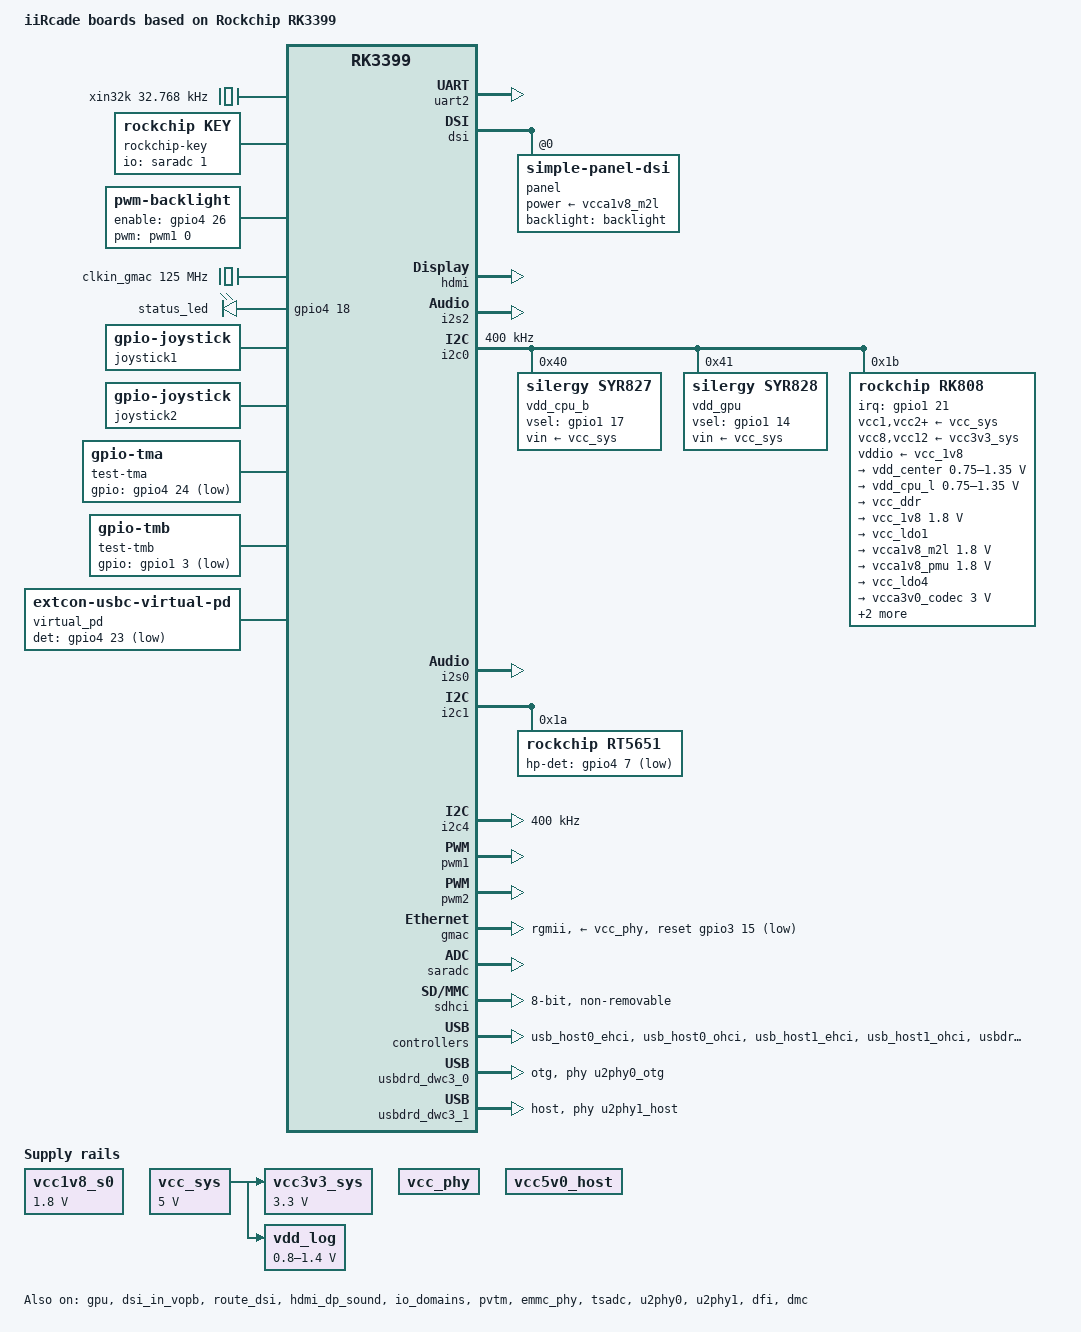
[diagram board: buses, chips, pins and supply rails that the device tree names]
/dts-v1/;

#include <dt-bindings/pwm/pwm.h>
#include <dt-bindings/input/input.h>
#include <dt-bindings/suspend/rockchip-rk3399.h>

#include "rk3399.dtsi"
#include "rk3399-android.dtsi"
#include "rk3399-opp.dtsi"

/ {
	model = "iiRcade boards based on Rockchip RK3399";
	compatible = "iiRcade,iiRcade", "rockchip,rk3399-iircade", "rockchip,android", "rockchip,rk3399";
	chosen {
		bootargs = "earlycon=uart8250,mmio32,0xff1a0000 swiotlb=1 console=ttyFIQ0 androidboot.baseband=N/A androidboot.veritymode=enforcing androidboot.hardware=rk30board androidboot.console=ttyFIQ0 rootfstype=ext4 rootwait init=/init initrd=0x62000001,0x00800000";
	};

	mach: board {
		compatible = "iiRcade,board";
		machine = "IIRCADE";
		hwrev = <0>;
		model = "iiRcade Series";
	};

	/* first 64k(0xff8c0000~0xff8d0000) for ddr and suspend */
	iram: sram@ff8d0000 {
		compatible = "mmio-sram";
		reg = <0x0 0xff8d0000 0x0 0x20000>; /* 128k */
	};

	vcc1v8_s0: vcc1v8-s0 {
		compatible = "regulator-fixed";
		regulator-name = "vcc1v8_s0";
		regulator-min-microvolt = <1800000>;
		regulator-max-microvolt = <1800000>;
		regulator-always-on;
	};

	vcc_sys: vcc-sys {
		compatible = "regulator-fixed";
		regulator-name = "vcc_sys";
		regulator-min-microvolt = <5000000>;
		regulator-max-microvolt = <5000000>;
		regulator-always-on;
	};

	vcc_phy: vcc-phy-regulator {
		compatible = "regulator-fixed";
		regulator-name = "vcc_phy";
		regulator-always-on;
		regulator-boot-on;
	};

	vcc3v3_sys: vcc3v3-sys {
		compatible = "regulator-fixed";
		regulator-name = "vcc3v3_sys";
		regulator-min-microvolt = <3300000>;
		regulator-max-microvolt = <3300000>;
		regulator-always-on;
		vin-supply = <&vcc_sys>;
	};

	vcc5v0_host: vcc5v0-host-regulator {
		compatible = "regulator-fixed";
		enable-active-high;
		regulator-name = "vcc5v0_host";
		regulator-always-on;
	};

	vdd_log: vdd-log {
		compatible = "pwm-regulator";
		pwms = <&pwm2 0 25000 1>;
		regulator-name = "vdd_log";
		regulator-min-microvolt = <800000>;
		regulator-max-microvolt = <1400000>;
		regulator-always-on;
		regulator-boot-on;

		/* for rockchip boot on */
		rockchip,pwm_id= <2>;
		rockchip,pwm_voltage = <900000>;

		vin-supply = <&vcc_sys>;
	};

	xin32k: xin32k {
		compatible = "fixed-clock";
		clock-frequency = <32768>;
		clock-output-names = "xin32k";
		#clock-cells = <0>;
	};

	/delete-node/ rockchip-key;
	rockchip-key {
		compatible = "rockchip,key";
		status = "okay";

		pinctrl-names = "default";
		pinctrl-0 = <&rk_keys>;

		io-channels = <&saradc 1>;

		power-key {
			gpios = <&gpio0 5 GPIO_ACTIVE_LOW>;
			linux,code = <116>;
			label = "power";
			gpio-key,wakeup;
		};

		volume-up {
			gpios = <&gpio4 10 GPIO_ACTIVE_LOW>;
			linux,code = <115>;
			label = "VOL+";
		};

		volume-down {
			gpios = <&gpio4 11 GPIO_ACTIVE_LOW>;
			linux,code = <114>;
			label = "VOL-";
		};
	};

	backlight: backlight {
		compatible = "pwm-backlight";
		pwms = <&pwm1 0 25000 PWM_POLARITY_INVERTED>;
		brightness-levels = <
/*
			255 255 254 254 253 253 252 252
			251 251 250 250 249 249 248 248
			247 247 247 246 246 245 245 244
			244 243 243 242 242 241 241 240
			240 239 239 239 238 238 237 237
			236 236 235 235 234 234 233 233
			232 232 231 231 231 230 230 229
			229 228 228 227 227 226 226 225
			225 224 224 223 223 223 222 222
			221 221 220 220 219 219 218 218
			217 217 216 216 215 215 215 214
			214 213 213 212 212 211 211 210
			210 209 209 208 208 207 207 207
			206 206 205 205 204 204 203 203
			202 202 201 201 200 200 199 199
			199 198 198 197 197 196 196 195
			195 194 194 193 193 192 192 191
			191 191 190 190 189 189 188 188
			187 187 186 186 185 185 184 184
			183 183 183 182 182 181 181 180
			180 179 179 178 178 177 177 176
			176 175 175 175 174 174 173 173
			172 172 171 171 170 170 169 169
			168 168 167 167 167 166 166 165
			165 164 164 163 163 162 162 161
			161 160 160 159 159 159 158 158
			157 157 156 156 155 155 154 154
			153 153 152 152 151 151 151 150
			150 149 149 148 148 147 147 146
			146 145 145 144 144 143 143 143
			142 142 141 141 140 140 139 139
			138 138 137 137 136 136 135 135>;
*/
			255 254 253 252 251 250 249 248
			247 246 245 244 243 242 241 240
			239 238 237 236 235 234 233 232
			231 230 229 228 227 226 225 224
			223 222 221 220 219 218 217 216
			215 214 213 212 211 210 209 208
			207 206 205 204 203 202 201 200
			199 198 197 196 195 194 193 192
			191 190 189 188 187 186 185 184
			183 182 181 180 179 178 177 176
			175 174 173 172 171 170 169 168
			167 166 165 164 163 162 161 160
			159 158 157 156 155 154 153 152
			151 150 149 148 147 146 145 144
			143 142 141 140 139 138 137 136
			135 134 133 132 131 130 129 128
			127 126 125 124 123 122 121 120
			119 118 117 116 115 114 113 112
			111 110 109 108 107 106 105 104
			103 102 101 100 99 98 97 96
			95 94 93 92 91 90 89 88
			87 86 85 84 83 82 81 80
			79 78 77 76 75 74 73 72
			71 70 69 68 67 66 65 64
			63 62 61 60 59 58 57 56
			55 54 53 52 51 50 49 48
			47 46 45 44 43 42 41 40
			39 38 37 36 35 34 33 32
			31 30 29 28 27 26 25 24
			23 22 21 20 19 18 17 16
			15 14 13 12 11 10 9  8
			7 6 5 4 3 2 1 0>;
		default-brightness-level = <200>;
		enable-gpios = <&gpio4 26 GPIO_ACTIVE_HIGH>;
	};


        clkin_gmac: external-gmac-clock {
                compatible = "fixed-clock";
                clock-frequency = <125000000>;
                clock-output-names = "clkin_gmac";
                #clock-cells = <0>;
        };

        vcc_phy: vcc-phy-regulator {
                compatible = "regulator-fixed";
                regulator-name = "vcc_phy";
                regulator-always-on;
                regulator-boot-on;
        };

	leds: gpio-leds {
		compatible = "gpio-leds";
		pinctrl-names = "default";
		pinctrl-0 =<&leds_gpio>;

		led@1 {
			gpios = <&gpio4 18 GPIO_ACTIVE_HIGH>;
			label = "status_led";
			linux,default-trigger-delay-ms = <0>;
		};
	};
/*
	rt5651-sound {
		status = "okay";
		compatible = "simple-audio-card";
		simple-audio-card,format = "i2s";
		simple-audio-card,name = "realtek,rt5651-codec";
		simple-audio-card,mclk-fs = <256>;
		simple-audio-card,widgets =
			"Headphone", "Headphone Jack";
		simple-audio-card,routing =
			"Headphone Jack", "HPOL",
			"Headphone Jack", "HPOR";
		simple-audio-card,cpu {
			sound-dai = <&i2s0>;
		};
		simple-audio-card,codec {
			sound-dai = <&rt5651>;
		};
	};

*/


/*        sound {
                status = "okay";
                compatible = "simple-audio-card";
                simple-audio-card,format = "i2s";
               	simple-audio-card,mclk-fs = <256>;
		simple-audio-card,name = "ti,pcm1808-codec";
                simple-audio-card,widgets =
                        "Line", "Line";
                simple-audio-card,routing =
                        "Line", "Capture";
                simple-audio-card,cpu {
               		sound-dai = <&i2s0>;
                };
                simple-audio-card,codec {
                        sound-dai = <&pcm1808>;
			clocks = <&cru SCLK_I2S_8CH_OUT>;
			clock-names = "mclk";
			pinctrl-names = "default";
			pinctrl-0 = <&i2s_8ch_mclk>;
                };
        };

	pcm1808: pcm1808 {
		#sound-dai-cells = <0>;
		compatible = "ti,pcm1808";

	};*/

        sound {
                status = "okay";
                compatible = "simple-audio-card";
                simple-audio-card,format = "i2s";
               	simple-audio-card,mclk-fs = <256>;
		simple-audio-card,name = "ti,pcm512x-codec";
                simple-audio-card,widgets =
                        "Line", "Line In Modem",
			"Line", "Line Out Modem";
                simple-audio-card,routing =
                         "Line In Modem", "LOUTL",
                         "Line Out Modem", "LOUTR";
                simple-audio-card,cpu {
                        sound-dai = <&i2s0>;
                };
                simple-audio-card,codec {
                        sound-dai = <&pcm512x>;
			clocks = <&cru SCLK_I2S_8CH_OUT>;
                	clock-names = "mclk";
                	pinctrl-names = "default";
                	pinctrl-0 = <&i2s_8ch_mclk>;
                };
        };

	pcm512x: pcm512x {
		#sound-dai-cells = <0>;
		compatible = "ti,pcm512x";

	};
	joystick1 {
		compatible = "gpio-joystick";

		pinctrl-names = "default";
		pinctrl-0 = <&player1_keys>;

		/* DPAD */
		button-left {
			linux,code = <ABS_HAT0X>;
			linux,input-type = <EV_ABS>;
			linux,input-value = <(-1)>;
			label = "P1 Left";
			gpios = <&gpio2 1 GPIO_ACTIVE_LOW>;
		};

		button-right {
			linux,code = <ABS_HAT0X>;
			linux,input-type = <EV_ABS>;
			linux,input-value = <1>;
			label = "P1 Right";
			gpios = <&gpio2 2 GPIO_ACTIVE_LOW>;
		};

		button-up {
			linux,code = <ABS_HAT0Y>;
			linux,input-type = <EV_ABS>;
			linux,input-value = <(-1)>;
			label = "P1 Up";
			gpios = <&gpio2 3 GPIO_ACTIVE_LOW>;
		};

		button-down {
			linux,code = <ABS_HAT0Y>;
			linux,input-type = <EV_ABS>;
			linux,input-value = <1>;
			label = "P1 Down";
			gpios = <&gpio2 4 GPIO_ACTIVE_LOW>;
		};

		/* Button */
		button-start {
			linux,code = <BTN_START>;
			label = "P1 Button Start";
			gpios = <&gpio2 0 GPIO_ACTIVE_LOW>;
		};

		button-a {
			linux,code = <BTN_NORTH>;
			label = "P1 Button A";
			gpios = <&gpio2 10 GPIO_ACTIVE_LOW>;
		};

		button-b {
			linux,code = <BTN_WEST>;
			label = "P1 Button B";
			gpios = <&gpio2 9 GPIO_ACTIVE_LOW>;
		};

		button-c {
			linux,code = <BTN_C>;
			label = "P1 Button C";
			gpios = <&gpio2 8 GPIO_ACTIVE_LOW>;
		};

		button-d {
			linux,code = <BTN_GAMEPAD>;
			label = "P1 Button D";
			gpios = <&gpio2 7 GPIO_ACTIVE_LOW>;
		};

		button-e {
			linux,code = <BTN_EAST>;
			label = "P1 Button E";
			gpios = <&gpio2 6 GPIO_ACTIVE_LOW>;
		};

		button-f {
			linux,code = <BTN_Z>;
			label = "P1 Button F";
			gpios = <&gpio2 5 GPIO_ACTIVE_LOW>;
		};

		button-insert {
			linux,code = <BTN_SELECT>;
			label = "P1 Button Insert";
			gpios = <&gpio4 9 GPIO_ACTIVE_LOW>;

		};

		button-menu {
			linux,code = <KEY_HOMEPAGE>;
			label = "P1 Button Menu";
			gpios = <&gpio4 12 GPIO_ACTIVE_LOW>;
		};

	};

	joystick2 {
		compatible = "gpio-joystick";

		pinctrl-names = "default";
		pinctrl-0 = <&player2_keys>;

		/* DPAD */
		button-left {
			linux,code = <ABS_HAT0X>;
			linux,input-type = <EV_ABS>;
			linux,input-value = <(-1)>;
			label = "P2 Left";
			gpios = <&gpio2 17 GPIO_ACTIVE_LOW>;
		};

		button-right {
			linux,code = <ABS_HAT0X>;
			linux,input-type = <EV_ABS>;
			linux,input-value = <1>;
			label = "P2 Right";
			gpios = <&gpio2 18 GPIO_ACTIVE_LOW>;
		};

		button-up {
			linux,code = <ABS_HAT0Y>;
			linux,input-type = <EV_ABS>;
			linux,input-value = <(-1)>;
			label = "P2 Up";
			gpios = <&gpio2 19 GPIO_ACTIVE_LOW>;
		};

		button-down {
			linux,code = <ABS_HAT0Y>;
			linux,input-type = <EV_ABS>;
			linux,input-value = <1>;
			label = "P2 Down";
			gpios = <&gpio2 20 GPIO_ACTIVE_LOW>;
		};

		/* Button */
		button-start {
			linux,code = <BTN_START>;
			label = "P2 Button Start";
			gpios = <&gpio2 16 GPIO_ACTIVE_LOW>;
		};

		button-a {
			linux,code = <BTN_NORTH>;
			label = "P2 Button A";
			gpios = <&gpio2 26 GPIO_ACTIVE_LOW>;
		};

		button-b {
			linux,code = <BTN_WEST>;
			label = "P2 Button B";
			gpios = <&gpio2 25 GPIO_ACTIVE_LOW>;
		};

		button-c {
			linux,code = <BTN_C>;
			label = "P2 Button C";
			gpios = <&gpio2 24 GPIO_ACTIVE_LOW>;
		};

		button-d {
			linux,code = <BTN_GAMEPAD>;
			label = "P2 Button D";
			gpios = <&gpio2 23 GPIO_ACTIVE_LOW>;
		};

		button-e {
			linux,code = <BTN_EAST>;
			label = "P2 Button E";
			gpios = <&gpio2 22 GPIO_ACTIVE_LOW>;
		};

		button-f {
			linux,code = <BTN_Z>;
			label = "P2 Button F";
			gpios = <&gpio2 21 GPIO_ACTIVE_LOW>;
		};

	};


	test-power {
		status = "okay";
	};

	TMA {
		compatible = "gpio-tma";
                pinctrl-names = "default";
                pinctrl-0 = <&tma_det>;
		status = "okay";
		label = "test-tma";
		gpios = <&gpio4 24 GPIO_ACTIVE_LOW>;
	};

        TMB {
                compatible = "gpio-tmb";
                pinctrl-names = "default";
                pinctrl-0 = <&tmb_det>;
                status = "okay";
                label = "test-tmb";
                gpios = <&gpio1 3 GPIO_ACTIVE_LOW>;
        };

	Version {
		compatible = "gpio-hdver";
		pinctrl-names = "default";
		pinctrl-0 = <&ver_det>;
		status = "okay";

                version-a {
                        label = "gpio1-a0";
                        gpios = <&gpio1 1 GPIO_ACTIVE_LOW>;
                };

                version-b {
                        label = "gpio1-a1";
                        gpios = <&gpio1 2 GPIO_ACTIVE_LOW>;
                };

                version-c {
                        label = "gpio1-b5";
                        gpios = <&gpio1 13 GPIO_ACTIVE_LOW>;
                };

                version-d {
                        label = "gpio1-c2";
                        gpios = <&gpio1 18 GPIO_ACTIVE_LOW>;
                };

                version-e {
                        label = "gpio1-c4";
                        gpios = <&gpio1 20 GPIO_ACTIVE_LOW>;
                };
	};

	hdmi_sound: hdmi-sound {
		status = "okay";
		compatible = "simple-audio-card";
		simple-audio-card,format = "i2s";
		simple-audio-card,mclk-fs = <256>;
		simple-audio-card,name = "rockchip,hdmi";
		simple-audio-card,cpu {
			sound-dai = <&i2s2>;
		};
		simple-audio-card,codec {
			sound-dai = <&hdmi>;
		};
	};

	/* DP hot plug detect */
	virtual_pd: virtual-pd {
        	compatible = "linux,extcon-usbc-virtual-pd";
       		det-gpios = <&gpio4 23 GPIO_ACTIVE_LOW>;	/* DP_HPD */
		vpd-data-role = "display-port";
		vpd-super-speed;
	};

};

&cpu_l0 {
	cpu-supply = <&vdd_cpu_l>;
};

&cpu_l1 {
	cpu-supply = <&vdd_cpu_l>;
};

&cpu_l2 {
	cpu-supply = <&vdd_cpu_l>;
};

&cpu_l3 {
	cpu-supply = <&vdd_cpu_l>;
};

&cpu_b0 {
	cpu-supply = <&vdd_cpu_b>;
};

&cpu_b1 {
	cpu-supply = <&vdd_cpu_b>;
};

&gpu {
	status = "okay";
	mali-supply = <&vdd_gpu>;
};

&threshold {
	temperature = <85000>;
};

&target {
	temperature = <100000>;
};

&soc_crit {
	temperature = <115000>;
};

&uart2 {
	status = "okay";
};

&vopb {
	assigned-clocks = <&cru DCLK_VOP0_DIV>;
	assigned-clock-parents = <&cru PLL_VPLL>;
};

&vopl {
	assigned-clocks = <&cru DCLK_VOP1_DIV>;
	assigned-clock-parents = <&cru PLL_CPLL>;
};

&dsi {
	status = "okay";

	panel@0 {
		status = "okay";
		compatible = "simple-panel-dsi";
		reg = <0>;
		backlight = <&backlight>;
		power-supply = <&vcca1v8_m2l>;

		reset-delay-ms = <30>;
		enable-delay-ms = <30>;
		prepare-delay-ms = <30>;
		unprepare-delay-ms = <60>;
		disable-delay-ms = <60>;

		dsi,flags = <(MIPI_DSI_MODE_VIDEO | MIPI_DSI_MODE_VIDEO_BURST |
			      MIPI_DSI_MODE_LPM | MIPI_DSI_MODE_EOT_PACKET)>;
		dsi,format = <MIPI_DSI_FMT_RGB888>;
		dsi,lanes  = <4>;

		display-timings {
			native-mode = <&timing0>;
			timing0: timing0 {
				clock-frequency = <108000000>;
				hactive = <1280>;
				hfront-porch = <48>;
				hback-porch = <248>;
				hsync-len = <112>;
				vactive = <1024>;
				vfront-porch = <1>;
				vback-porch = <38>;
				vsync-len = <3>;
				hsync-active = <1>;
				vsync-active = <1>;
				de-active = <1>;
				pixelclk-active = <1>;
			};
		};
	};
};

&dsi_in_vopb {
	status = "okay";
};

&dsi_in_vopl {
	status = "disabled";
};

&route_dsi {
	status = "okay";
	connect = <&vopb_out_dsi>;
};

&hdmi {
	status = "okay";
};

&hdmi_in_vopb {
	status = "disabled";
};

&vopb {
	assigned-clocks = <&cru DCLK_VOP0_DIV>;
	assigned-clock-parents = <&cru PLL_CPLL>;
};

&vopl {
	assigned-clocks = <&cru DCLK_VOP1_DIV>;
	assigned-clock-parents = <&cru PLL_VPLL>;
};

&hdmi_dp_sound {
	status = "okay";
};

&i2s2 {
	status = "okay";
};

&i2c0 {
	status = "okay";
	i2c-scl-rising-time-ns = <168>;
	i2c-scl-falling-time-ns = <4>;
	clock-frequency = <400000>;

	vdd_cpu_b: syr827@40 {
		compatible = "silergy,syr827";
		reg = <0x40>;
		regulator-compatible = "fan53555-reg";
		pinctrl-0 = <&vsel1_gpio>;
		vsel-gpios = <&gpio1 17 GPIO_ACTIVE_HIGH>;
		regulator-name = "vdd_cpu_b";
		regulator-min-microvolt = <712500>;
		regulator-max-microvolt = <1500000>;
		regulator-ramp-delay = <1000>;
		fcs,suspend-voltage-selector = <1>;
		regulator-always-on;
		regulator-boot-on;
		vin-supply = <&vcc_sys>;
		regulator-state-mem {
			regulator-off-in-suspend;
		};
	};

	vdd_gpu: syr828@41 {
		compatible = "silergy,syr828";
		reg = <0x41>;
		regulator-compatible = "fan53555-reg";
		pinctrl-0 = <&vsel2_gpio>;
		vsel-gpios = <&gpio1 14 GPIO_ACTIVE_HIGH>;
		regulator-name = "vdd_gpu";
		regulator-min-microvolt = <712500>;
		regulator-max-microvolt = <1500000>;
		regulator-ramp-delay = <1000>;
		fcs,suspend-voltage-selector = <1>;
		regulator-always-on;
		regulator-boot-on;
		vin-supply = <&vcc_sys>;
		regulator-initial-mode = <1>; /* 1:force PWM 2:auto */
		regulator-state-mem {
			regulator-off-in-suspend;
		};
	};

	rk808: pmic@1b {
		compatible = "rockchip,rk808";
		reg = <0x1b>;
		interrupt-parent = <&gpio1>;
		interrupts = <21 IRQ_TYPE_LEVEL_LOW>;
		pinctrl-names = "default";
		pinctrl-0 = <&pmic_int_l>;
		rockchip,system-power-controller;
		wakeup-source;
		#clock-cells = <1>;
		clock-output-names = "rk808-clkout1", "rk808-clkout2";

		vcc1-supply = <&vcc_sys>;
		vcc2-supply = <&vcc_sys>;
		vcc3-supply = <&vcc_sys>;
		vcc4-supply = <&vcc_sys>;
		vcc6-supply = <&vcc_sys>;
		vcc7-supply = <&vcc_sys>;
		vcc8-supply = <&vcc3v3_sys>;
		vcc9-supply = <&vcc_sys>;
		vcc10-supply = <&vcc_sys>;
		vcc11-supply = <&vcc_sys>;
		vcc12-supply = <&vcc3v3_sys>;
		vddio-supply = <&vcc_1v8>;

		regulators {
			vdd_center: DCDC_REG1 {
				regulator-name = "vdd_center";
				regulator-min-microvolt = <750000>;
				regulator-max-microvolt = <1350000>;
				regulator-ramp-delay = <6001>;
				regulator-always-on;
				regulator-boot-on;
				regulator-state-mem {
					regulator-off-in-suspend;
				};
			};

			vdd_cpu_l: DCDC_REG2 {
				regulator-name = "vdd_cpu_l";
				regulator-min-microvolt = <750000>;
				regulator-max-microvolt = <1350000>;
				regulator-ramp-delay = <6001>;
				regulator-always-on;
				regulator-boot-on;
				regulator-state-mem {
					regulator-off-in-suspend;
				};
			};

			vcc_ddr: DCDC_REG3 {
				regulator-name = "vcc_ddr";
				regulator-always-on;
				regulator-boot-on;
				regulator-state-mem {
					regulator-on-in-suspend;
				};
			};

			vcc_1v8: DCDC_REG4 {
				regulator-name = "vcc_1v8";
				regulator-min-microvolt = <1800000>;
				regulator-max-microvolt = <1800000>;
				regulator-always-on;
				regulator-boot-on;
				regulator-state-mem {
					regulator-on-in-suspend;
					regulator-suspend-microvolt = <1800000>;
				};
			};

			// 1.8-3.4V/150mA
			LDO_REG1 {
				regulator-always-on;
				regulator-boot-on;
				regulator-name = "vcc_ldo1";
				regulator-state-mem {
					regulator-off-in-suspend;
				};
			};

			// 1.8-3.4V/150mA
			vcca1v8_m2l: LDO_REG2 { // VCCA1V8_M2L
				regulator-always-on;
				regulator-boot-on;
				regulator-min-microvolt = <1800000>;
				regulator-max-microvolt = <1800000>;
				regulator-name = "vcca1v8_m2l";
				regulator-state-mem {
					regulator-on-in-suspend;
					regulator-suspend-microvolt = <1800000>;
				};
			};

			// 0.8-2.5V/100mA
			vcca1v8_pmu: LDO_REG3 { // VCCA_1V8
				regulator-always-on;
				regulator-boot-on;
				regulator-min-microvolt = <1800000>;
				regulator-max-microvolt = <1800000>;
				regulator-name = "vcca1v8_pmu";
				regulator-state-mem {
					regulator-on-in-suspend;
					regulator-suspend-microvolt = <1800000>;
				};
			};

			// 1.8-3.4V/150mA
			LDO_REG4 {
				regulator-always-on;
				regulator-boot-on;
				regulator-name = "vcc_ldo4";
				regulator-state-mem {
					regulator-off-in-suspend;
				};
			};

			// 1.8-3.4V/300mA
			vcca3v0_codec: LDO_REG5 { // VCCA3V0_CODEC
				regulator-always-on;
				regulator-boot-on;
				regulator-min-microvolt = <3000000>;
				regulator-max-microvolt = <3000000>;
				regulator-name = "vcc_3v0";
				regulator-state-mem {
					regulator-on-in-suspend;
					regulator-suspend-microvolt = <3000000>;
				};
			};

			// 0.8-2.5V/150mA
			vcc_1v5: LDO_REG6 { // VCC_1V5 - RK3399
				regulator-always-on;
				regulator-boot-on;
				regulator-min-microvolt = <1500000>;
				regulator-max-microvolt = <1500000>;
				regulator-name = "vcc_1v5";
				regulator-state-mem {
					regulator-on-in-suspend;
					regulator-suspend-microvolt = <1500000>;
				};
			};

			// 0.8-2.5V/300mA
			vcca1v8_codec: LDO_REG7 { // VCCA1V8_CODEC
				regulator-always-on;
				regulator-boot-on;
				regulator-min-microvolt = <1800000>;
				regulator-max-microvolt = <1800000>;
				regulator-name = "vcca1v8_codec";
				regulator-state-mem {
					regulator-on-in-suspend;
					regulator-suspend-microvolt = <1800000>;
				};
			};

			// 1.8-3.4V/300mA
			vcc_3v0: LDO_REG8 { // VCC_3V0 - WiFi_PWR/LCDBL_IO/SPK_IO/UART2/LED/CTL/FAN_IO
				regulator-always-on;
				regulator-boot-on;
				regulator-min-microvolt = <3000000>;
				regulator-max-microvolt = <3000000>;
				regulator-name = "vcc_3v0";
				regulator-state-mem {
					regulator-on-in-suspend;
					regulator-suspend-microvolt = <3000000>;
				};
			};

			vcc3v3_s3: SWITCH_REG1 {
				regulator-always-on;
				regulator-boot-on;
				regulator-name = "vcc3v3_s3";
				regulator-state-mem {
					regulator-off-in-suspend;
				};
			};

			vcc3v3_s0: SWITCH_REG2 {
				regulator-always-on;
				regulator-boot-on;
				regulator-name = "vcc3v3_s0";
				regulator-state-mem {
					regulator-off-in-suspend;
				};
			};
		};
	};
};

&i2s0 {
	status = "okay";
	rockchip,i2s-broken-burst-len;
	rockchip,playback-channels = <2>;
	rockchip,capture-channels = <2>;
	#sound-dai-cells = <0>;


	assigned-clocks = <&cru SCLK_I2S0_DIV>;
	assigned-clock-parents = <&cru PLL_GPLL>;
};


// Codec - ALC5651
&i2c1 {
	status = "okay";
	i2c-scl-rising-time-ns = <300>;
	i2c-scl-falling-time-ns = <15>;

	rt5651: rt5651@1a {
		status = "okay";
		#sound-dai-cells = <0>;
		compatible = "rockchip,rt5651";
		reg = <0x1a>;
		clocks = <&cru SCLK_I2S_8CH_OUT>;
		clock-names = "mclk";
		pinctrl-names = "default";
		pinctrl-0 = <&i2s_8ch_mclk>;
		hp-det-gpio = <&gpio4 7 GPIO_ACTIVE_LOW>;
	};
};

/*
// pcm512x codec
&i2c1 {
        status = "okay";
        i2c-scl-rising-time-ns = <300>;
        i2c-scl-falling-time-ns = <15>;

        pcm5122: pcm5122@98 {
                status = "okay";
                compatible = "ti,pcm5122";
                reg = <0x98>;
        };
};
*/
// M2L
&i2c4 {
	status = "okay";
	i2c-scl-rising-time-ns = <160>;
	i2c-scl-falling-time-ns = <30>;
	clock-frequency = <400000>;
};

&io_domains {
	status = "okay";

	audio-supply = <&vcca1v8_codec>;	/* audio_gpio3d4a_ms */
};

&pvtm {
	status = "okay";
};

&pmu_pvtm {
	status = "okay";
};

&pmu_io_domains {
	status = "okay";
};

&pwm1 {
	status = "okay";
};

&pwm2 {
	status = "okay";
	pinctrl-names = "active";
	pinctrl-0 = <&pwm2_pin_pull_down>;
};

&gmac {
        phy-supply = <&vcc_phy>;
        phy-mode = "rgmii";
        clock_in_out = "input";
        snps,reset-gpio = <&gpio3 15 GPIO_ACTIVE_LOW>;
        snps,reset-active-low;
        snps,reset-delays-us = <0 10000 50000>;
        assigned-clocks = <&cru SCLK_RMII_SRC>;
        assigned-clock-parents = <&clkin_gmac>;
        pinctrl-names = "default";
        pinctrl-0 = <&rgmii_pins>;
        tx_delay = <0x28>;
        rx_delay = <0x11>;
        status = "okay";
};

&rockchip_suspend {
	compatible = "rockchip,pm-rk3399";
	status = "okay";
	rockchip,sleep-debug-en = <1>;
	rockchip,sleep-mode-config = <
		(0
		| RKPM_SLP_ARMPD
		| RKPM_SLP_PERILPPD
		| RKPM_SLP_DDR_RET
		| RKPM_SLP_PLLPD
		| RKPM_SLP_CENTER_PD
		| RKPM_SLP_AP_PWROFF
		)
	>;
	rockchip,wakeup-config = <
		(0
		| RKPM_GPIO_WKUP_EN
		| RKPM_PWM_WKUP_EN
		)
	>;
	rockchip,pwm-regulator-config = <
		(0
		| PWM2_REGULATOR_EN
		)
	>;
	rockchip,power-ctrl =
		<&gpio1 17 GPIO_ACTIVE_HIGH>,
		<&gpio1 14 GPIO_ACTIVE_HIGH>;
};

&saradc {
	status = "okay";
};

&sdhci {
	bus-width = <8>;
	mmc-hs400-1_8v;
	supports-emmc;
	non-removable;
	keep-power-in-suspend;
	mmc-hs400-enhanced-strobe;
	status = "okay";
};

&emmc_phy {
	status = "okay";
};

&tsadc {
	rockchip,hw-tshut-mode = <1>; /* tshut mode 0:CRU 1:GPIO */
	rockchip,hw-tshut-polarity = <1>; /* tshut polarity 0:LOW 1:HIGH */
	rockchip,hw-tshut-temp = <120000>;
	status = "okay";
};

&u2phy0 {
	status = "okay";

	u2phy0_otg: otg-port {
		status = "okay";
	};

	u2phy0_host: host-port {
		status = "okay";
	};
};

&u2phy1 {
	status = "okay";

	u2phy1_otg: otg-port {
		status = "okay";
	};

	u2phy1_host: host-port {
		status = "okay";
	};
};

&usb_host0_ehci {
	status = "okay";
};

&usb_host0_ohci {
	status = "okay";
};

&usb_host1_ehci {
	status = "okay";
};

&usb_host1_ohci {
	status = "okay";
};

&usbdrd3_0 {
	extcon = <&u2phy0>;
	status = "okay";
};

&usbdrd_dwc3_0 {
	dr_mode = "otg";
	maximum-speed = "high-speed";
	phys = <&u2phy0_otg>;
	phy-names = "usb2-phy";
	status = "okay";
};

&usbdrd_dwc3_1 {
	dr_mode = "host";
	maximum-speed = "high-speed";
	phys = <&u2phy1_host>;
	phy-names = "usb2-phy";
	status = "okay";
};

&pinctrl {
	pmic {
		pmic_int_l: pmic-int-l {
			rockchip,pins =
				<1 21 RK_FUNC_GPIO &pcfg_pull_up>;
		};
		vsel1_gpio: vsel1-gpio {
			rockchip,pins =
				<1 17 RK_FUNC_GPIO &pcfg_pull_down>;
		};
		vsel2_gpio: vsel2-gpio {
			rockchip,pins =
				<1 14 RK_FUNC_GPIO &pcfg_pull_down>;
		};
	};

	rockchip-key {
		rk_keys: rk-keys {
			rockchip,pins =
				<0 5 RK_FUNC_GPIO &pcfg_pull_up>,
				<4 10 RK_FUNC_GPIO &pcfg_pull_up>,
				<4 11 RK_FUNC_GPIO &pcfg_pull_up>;
		};
	};

	headphone {
		hp_det: hp-det {
			rockchip,pins = <4 28 RK_FUNC_GPIO &pcfg_pull_up>;
		};
	};

	version {
		ver_det: ver-det {
			rockchip,pins = 
				<1 1 RK_FUNC_GPIO &pcfg_pull_up>,
				<1 2 RK_FUNC_GPIO &pcfg_pull_up>,
				<1 13 RK_FUNC_GPIO &pcfg_pull_up>,
				<1 18 RK_FUNC_GPIO &pcfg_pull_up>,
				<1 20 RK_FUNC_GPIO &pcfg_pull_up>;
		};
	};

	TMA {
		tma_det: tma-det {
			rockchip,pins = <4 24 RK_FUNC_GPIO &pcfg_pull_up>;
		};
	};

        TMB {
                tmb_det: tmb-det {
                        rockchip,pins = <1 3 RK_FUNC_GPIO &pcfg_pull_up>;
                };
        };

	gpio-leds {
		leds_gpio: leds-gpio {
		   rockchip,pins = <4 18 RK_FUNC_GPIO &pcfg_pull_none>;
		};
	};

	gpio-keys {
		player1_keys: player1 {
			rockchip,pins =
				<2 16 RK_FUNC_GPIO &pcfg_pull_up>,
				<2 17 RK_FUNC_GPIO &pcfg_pull_up>,
				<2 18 RK_FUNC_GPIO &pcfg_pull_up>,
				<2 19 RK_FUNC_GPIO &pcfg_pull_up>,
				<2 20 RK_FUNC_GPIO &pcfg_pull_up>,
				<2 21 RK_FUNC_GPIO &pcfg_pull_up>,
				<2 22 RK_FUNC_GPIO &pcfg_pull_up>,
				<2 23 RK_FUNC_GPIO &pcfg_pull_up>,
				<2 24 RK_FUNC_GPIO &pcfg_pull_up>,
				<2 25 RK_FUNC_GPIO &pcfg_pull_up>,
				<2 26 RK_FUNC_GPIO &pcfg_pull_up>,
				<4 9 RK_FUNC_GPIO &pcfg_pull_up>, /* SERVICE_COIN */
				<4 12 RK_FUNC_GPIO &pcfg_pull_up>; /* MENU/PAUSE */
		};

		player2_keys: player2 {
			rockchip,pins =
				<2 0 RK_FUNC_GPIO &pcfg_pull_up>,
				<2 1 RK_FUNC_GPIO &pcfg_pull_up>,
				<2 2 RK_FUNC_GPIO &pcfg_pull_up>,
				<2 3 RK_FUNC_GPIO &pcfg_pull_up>,
				<2 4 RK_FUNC_GPIO &pcfg_pull_up>,
				<2 5 RK_FUNC_GPIO &pcfg_pull_up>,
				<2 6 RK_FUNC_GPIO &pcfg_pull_up>,
				<2 7 RK_FUNC_GPIO &pcfg_pull_up>,
				<2 8 RK_FUNC_GPIO &pcfg_pull_up>,
				<2 9 RK_FUNC_GPIO &pcfg_pull_up>,
				<2 10 RK_FUNC_GPIO &pcfg_pull_up>;
		};
	};

	vpd {
		vpd0_int: vpd0-int {
			rockchip,pins =
				<4 23 RK_FUNC_GPIO &pcfg_pull_up>;
			};
	};

};

&dmac_bus {
	iram = <&iram>;
	rockchip,force-iram;
};

&dfi {
	status = "okay";
};

&dmc {
	status = "okay";
	center-supply = <&vdd_center>;
	system-status-freq = <
		/*system status         freq(KHz)*/
		SYS_STATUS_NORMAL       800000
		SYS_STATUS_REBOOT       400000
		SYS_STATUS_SUSPEND      400000
		SYS_STATUS_VIDEO_1080P  800000
		SYS_STATUS_VIDEO_4K     800000
		SYS_STATUS_VIDEO_4K_10B 800000
		SYS_STATUS_PERFORMANCE  800000
		SYS_STATUS_BOOST        800000
		SYS_STATUS_DUALVIEW     800000
		SYS_STATUS_ISP          800000
	>;
	auto-min-freq = <400000>;
	auto-freq-en = <0>;
};

&dmc_opp_table {
	compatible = "operating-points-v2";

	opp-200000000 {
		opp-hz = /bits/ 64 <200000000>;
		opp-microvolt = <825000>;
		status = "disabled";
	};
	opp-300000000 {
		opp-hz = /bits/ 64 <300000000>;
		opp-microvolt = <850000>;
		status = "disabled";
	};
	opp-400000000 {
		opp-hz = /bits/ 64 <400000000>;
		opp-microvolt = <900000>;
	};
	opp-528000000 {
		opp-hz = /bits/ 64 <528000000>;
		opp-microvolt = <900000>;
		status = "disabled";
	};
	opp-600000000 {
		opp-hz = /bits/ 64 <600000000>;
		opp-microvolt = <900000>;
		status = "disabled";
	};
	opp-800000000 {
		opp-hz = /bits/ 64 <800000000>;
		opp-microvolt = <900000>;
	};
	opp-928000000 {
		opp-hz = /bits/ 64 <928000000>;
		opp-microvolt = <900000>;
		status = "disabled";
	};
	opp-1056000000 {
		opp-hz = /bits/ 64 <1056000000>;
		opp-microvolt = <900000>;
		status = "disabled";
	};
};

&firmware_android {
	compatible = "android,firmware";
	boot_devices = "fe330000.sdhci";

	vbmeta {
		compatible = "android,vbmeta";
		parts = "vbmeta,boot,system,vendor,dtbo";
	};

	fstab {
		compatible = "android,fstab";
		vendor {
			compatible = "android,vendor";
			dev = "/dev/block/by-name/vendor";
			type = "ext4";
			mnt_flags = "ro,barrier=1,inode_readahead_blks=8";
			fsmgr_flags = "wait,verify";
		};
	};
};

